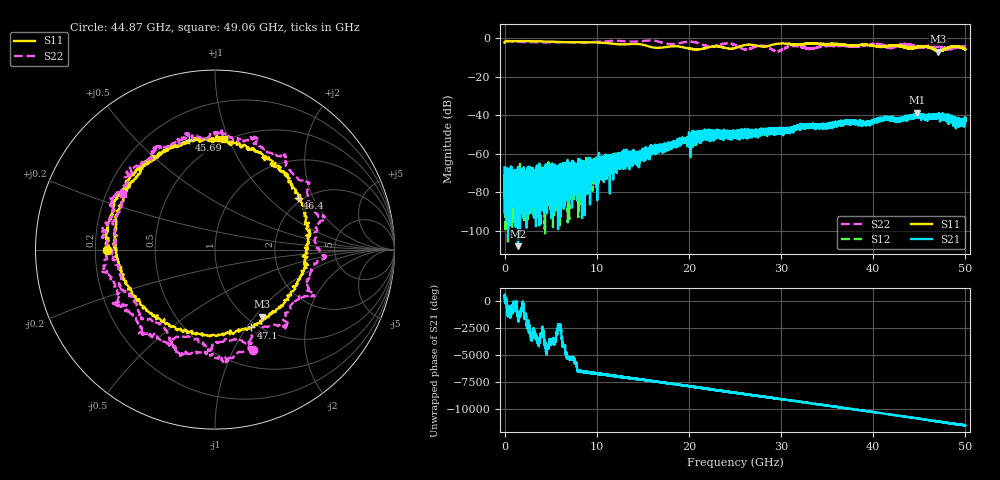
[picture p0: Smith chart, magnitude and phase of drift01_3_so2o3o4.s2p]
!Created with skrf (http://scikit-rf.org).
# Hz S RI R 50.0
!freq ReS11 ImS11 ReS21 ImS21 ReS12 ImS12 ReS22 ImS22
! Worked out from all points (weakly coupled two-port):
!   10001 points, 300 kHz to 50 GHz, reference 50 ohm
!   highest |S21| = -38.67 dB at 44.8 GHz (marker M1); lowest = -108.1 dB at 1.455 GHz (marker M2)
!   lowest |S11| = -6.8 dB at 47.03 GHz (marker M3), VSWR 2.67, Z = 57.6 - j54.4 ohm
!   |S11| at or under -10 dB: nowhere
!   |S22| runs from -6.9 to -1.0 dB; largest |S21 - S12| = 0.0047
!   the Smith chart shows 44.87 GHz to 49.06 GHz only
!   S11 on the Smith chart (normalised r, x): 44.87 GHz: 0.25, -0.00; 45.69 GHz: 0.36, +0.72; 46.4 GHz: 1.88, +1.54; 47.1 GHz: 0.93, -1.05; 49.06 GHz: 0.48, +0.96
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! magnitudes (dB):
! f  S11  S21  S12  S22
! 300 kHz  -2.1  -67.1  -72.4  -1.3
! 255.3 MHz  -1.4  -67.5  -77.2  -1.4
! 1.455 GHz  -1.4  -108.1  -84.0  -1.7
! 5.685 GHz  -1.8  -73.2  -74.8  -2.0
! 8.335 GHz  -2.0  -71.0  -69.9  -2.1
! 16.67 GHz  -4.9  -56.1  -58.2  -1.6
! 21.87 GHz  -4.9  -49.4  -51.0  -3.9
! 25 GHz  -5.0  -51.4  -49.0  -3.4
! 26.18 GHz  -3.4  -51.0  -49.2  -5.8
! 28.12 GHz  -4.3  -48.5  -47.6  -3.9
! 29.5 GHz  -2.8  -46.9  -48.2  -6.7
! 31.25 GHz  -3.2  -47.7  -47.0  -3.9
! 33.34 GHz  -2.6  -45.3  -45.4  -5.5
! 41.67 GHz  -3.9  -42.4  -41.2  -4.5
! 44.8 GHz  -4.4  -38.7  -39.7  -4.2
! 44.87 GHz  -4.4  -39.6  -40.3  -4.5
! 45.69 GHz  -4.1  -40.4  -40.7  -4.4
! 46.4 GHz  -5.3  -41.1  -41.3  -3.8
! 47.03 GHz  -6.8  -40.3  -40.3  -4.3
! 47.1 GHz  -6.4  -40.9  -41.2  -3.9
! 49.06 GHz  -4.2  -42.4  -44.0  -4.4
! 50 GHz  -5.7  -42.7  -42.9  -4.3
